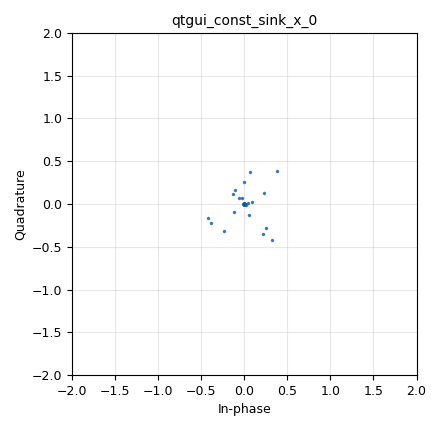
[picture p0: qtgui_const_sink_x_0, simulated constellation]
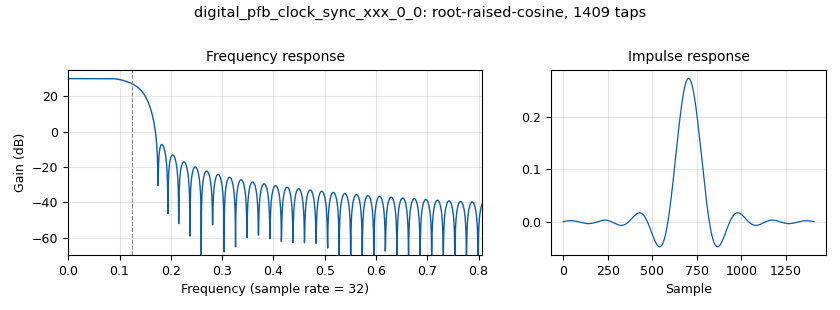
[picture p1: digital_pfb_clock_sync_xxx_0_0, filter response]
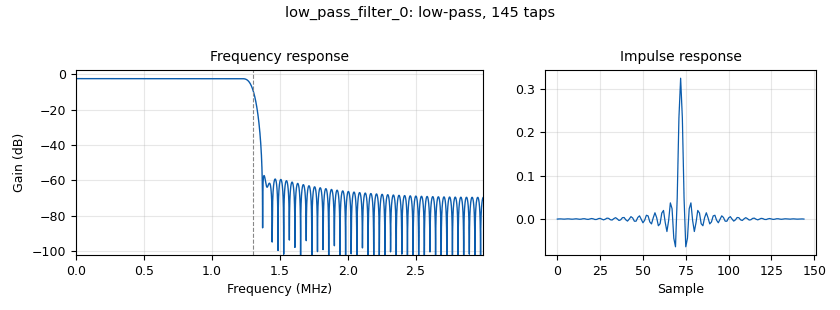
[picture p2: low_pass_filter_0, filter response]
<?xml version='1.0' encoding='utf-8'?>
<?grc format='1' created='3.7.11'?>
<flow_graph>
<block>
<key>options</key>
<param><key>id</key><value>DownConversion_test</value></param>
<param><key>generate_options</key><value>qt_gui</value></param>
</block>
<block>
<key>variable</key>
<param><key>id</key><value>center_freq</value></param>
<param><key>value</key><value>800e3</value></param>
</block>
<block>
<key>variable</key>
<param><key>id</key><value>excess_bw</value></param>
<param><key>value</key><value>0.35</value></param>
</block>
<block>
<key>variable</key>
<param><key>id</key><value>lpf_cutoff_freq</value></param>
<param><key>value</key><value>1.3e6</value></param>
</block>
<block>
<key>variable</key>
<param><key>id</key><value>lpf_transition_width</value></param>
<param><key>value</key><value>100e3</value></param>
</block>
<block>
<key>variable</key>
<param><key>id</key><value>nfilts</value></param>
<param><key>value</key><value>32</value></param>
</block>
<block>
<key>variable_constellation_rect</key>
<param><key>id</key><value>qpsk</value></param>
<param><key>const_points</key><value>[1+1j, -1+1j, -1-1j, 1-1j]</value></param>
<param><key>imag_sect</key><value>2</value></param>
<param><key>real_sect</key><value>2</value></param>
<param><key>rot_sym</key><value>4</value></param>
<param><key>sym_map</key><value>[0, 1, 2, 3]</value></param>
<param><key>w_imag_sect</key><value>1</value></param>
<param><key>w_real_sect</key><value>1</value></param>
</block>
<block>
<key>variable</key>
<param><key>id</key><value>rrc_taps</value></param>
<param><key>value</key><value>firdes.root_raised_cosine(nfilts, nfilts, 1.0/float(sps), 0.35, 11*sps*nfilts)</value></param>
</block>
<block>
<key>variable_qtgui_range</key>
<param><key>id</key><value>samp_rate</value></param>
<param><key>value</key><value>6e6</value></param>
<param><key>orient</key><value>Qt.Horizontal</value></param>
<param><key>start</key><value>2e6</value></param>
<param><key>step</key><value>1e3</value></param>
<param><key>stop</key><value>100e6</value></param>
</block>
<block>
<key>variable</key>
<param><key>id</key><value>samp_rate</value></param>
<param><key>_enabled</key><value>0</value></param>
<param><key>value</key><value>2e6</value></param>
</block>
<block>
<key>variable</key>
<param><key>id</key><value>sps</value></param>
<param><key>value</key><value>4</value></param>
</block>
<block>
<key>variable</key>
<param><key>id</key><value>timing_loop_bw</value></param>
<param><key>value</key><value>62.8e-3</value></param>
</block>
<block>
<key>analog_sig_source_x</key>
<param><key>id</key><value>analog_sig_source_x_0</value></param>
<param><key>amp</key><value>1</value></param>
<param><key>freq</key><value>center_freq</value></param>
<param><key>offset</key><value>0</value></param>
<param><key>type</key><value>complex</value></param>
<param><key>samp_rate</key><value>samp_rate</value></param>
<param><key>waveform</key><value>analog.GR_COS_WAVE</value></param>
</block>
<block>
<key>analog_sig_source_x</key>
<param><key>id</key><value>analog_sig_source_x_0_0</value></param>
<param><key>amp</key><value>1</value></param>
<param><key>_enabled</key><value>0</value></param>
<param><key>freq</key><value>44e3</value></param>
<param><key>offset</key><value>0</value></param>
<param><key>type</key><value>complex</value></param>
<param><key>samp_rate</key><value>samp_rate</value></param>
<param><key>waveform</key><value>analog.GR_COS_WAVE</value></param>
</block>
<block>
<key>analog_sig_source_x</key>
<param><key>id</key><value>analog_sig_source_x_0_1</value></param>
<param><key>amp</key><value>1</value></param>
<param><key>freq</key><value>-center_freq</value></param>
<param><key>offset</key><value>0</value></param>
<param><key>type</key><value>complex</value></param>
<param><key>samp_rate</key><value>samp_rate</value></param>
<param><key>waveform</key><value>analog.GR_COS_WAVE</value></param>
</block>
<block>
<key>blocks_complex_to_float</key>
<param><key>id</key><value>blocks_complex_to_float_0</value></param>
</block>
<block>
<key>blocks_complex_to_float</key>
<param><key>id</key><value>blocks_complex_to_float_1</value></param>
</block>
<block>
<key>blocks_complex_to_float</key>
<param><key>id</key><value>blocks_complex_to_float_2</value></param>
</block>
<block>
<key>blocks_complex_to_float</key>
<param><key>id</key><value>blocks_complex_to_float_2_0</value></param>
</block>
<block>
<key>blocks_float_to_complex</key>
<param><key>id</key><value>blocks_float_to_complex_0</value></param>
</block>
<block>
<key>blocks_float_to_complex</key>
<param><key>id</key><value>blocks_float_to_complex_0_0</value></param>
</block>
<block>
<key>blocks_message_debug</key>
<param><key>id</key><value>blocks_message_debug_0</value></param>
</block>
<block>
<key>blocks_message_strobe</key>
<param><key>id</key><value>blocks_message_strobe_0</value></param>
<param><key>msg</key><value>pmt.PMT_T</value></param>
<param><key>period</key><value>2000</value></param>
</block>
<block>
<key>blocks_multiply_xx</key>
<param><key>id</key><value>blocks_multiply_xx_0</value></param>
<param><key>type</key><value>float</value></param>
</block>
<block>
<key>blocks_multiply_xx</key>
<param><key>id</key><value>blocks_multiply_xx_0_0</value></param>
<param><key>type</key><value>float</value></param>
</block>
<block>
<key>blocks_multiply_xx</key>
<param><key>id</key><value>blocks_multiply_xx_0_1</value></param>
<param><key>type</key><value>float</value></param>
</block>
<block>
<key>blocks_multiply_xx</key>
<param><key>id</key><value>blocks_multiply_xx_0_2</value></param>
<param><key>type</key><value>float</value></param>
</block>
<block>
<key>blocks_pdu_to_tagged_stream</key>
<param><key>id</key><value>blocks_pdu_to_tagged_stream_0</value></param>
<param><key>type</key><value>byte</value></param>
<param><key>tag</key><value>packet_len</value></param>
</block>
<block>
<key>blocks_random_pdu</key>
<param><key>id</key><value>blocks_random_pdu_0</value></param>
<param><key>mask</key><value>0xFF</value></param>
<param><key>length_modulo</key><value>2</value></param>
<param><key>maxsize</key><value>6</value></param>
<param><key>minsize</key><value>5</value></param>
</block>
<block>
<key>blocks_tagged_stream_to_pdu</key>
<param><key>id</key><value>blocks_tagged_stream_to_pdu_0</value></param>
<param><key>_enabled</key><value>0</value></param>
<param><key>type</key><value>byte</value></param>
<param><key>tag</key><value>packet_len</value></param>
</block>
<block>
<key>blocks_throttle</key>
<param><key>id</key><value>blocks_throttle_0</value></param>
<param><key>samples_per_second</key><value>samp_rate</value></param>
<param><key>type</key><value>complex</value></param>
</block>
<block>
<key>digital_burst_shaper_xx</key>
<param><key>id</key><value>digital_burst_shaper_xx_0</value></param>
<param><key>insert_phasing</key><value>False</value></param>
<param><key>length_tag_name</key><value>"packet_len"</value></param>
<param><key>post_padding</key><value>0</value></param>
<param><key>pre_padding</key><value>0</value></param>
<param><key>type</key><value>complex</value></param>
<param><key>window</key><value>([])</value></param>
</block>
<block>
<key>digital_constellation_decoder_cb</key>
<param><key>id</key><value>digital_constellation_decoder_cb_0_0</value></param>
<param><key>constellation</key><value>qpsk</value></param>
<param><key>_enabled</key><value>0</value></param>
</block>
<block>
<key>digital_constellation_modulator</key>
<param><key>id</key><value>digital_constellation_modulator_0</value></param>
<param><key>constellation</key><value>qpsk</value></param>
<param><key>differential</key><value>False</value></param>
<param><key>excess_bw</key><value>excess_bw</value></param>
<param><key>samples_per_symbol</key><value>sps</value></param>
<param><key>verbose</key><value>True</value></param>
</block>
<block>
<key>digital_pfb_clock_sync_xxx</key>
<param><key>id</key><value>digital_pfb_clock_sync_xxx_0_0</value></param>
<param><key>filter_size</key><value>nfilts</value></param>
<param><key>init_phase</key><value>nfilts/2</value></param>
<param><key>loop_bw</key><value>timing_loop_bw</value></param>
<param><key>max_dev</key><value>1.5</value></param>
<param><key>osps</key><value>1</value></param>
<param><key>sps</key><value>sps</value></param>
<param><key>taps</key><value>rrc_taps</value></param>
<param><key>type</key><value>ccf</value></param>
</block>
<block>
<key>low_pass_filter</key>
<param><key>id</key><value>low_pass_filter_0</value></param>
<param><key>cutoff_freq</key><value>lpf_cutoff_freq</value></param>
<param><key>decim</key><value>1</value></param>
<param><key>type</key><value>fir_filter_fff</value></param>
<param><key>gain</key><value>0.75</value></param>
<param><key>samp_rate</key><value>samp_rate</value></param>
<param><key>width</key><value>lpf_transition_width</value></param>
<param><key>win</key><value>firdes.WIN_HAMMING</value></param>
</block>
<block>
<key>low_pass_filter</key>
<param><key>id</key><value>low_pass_filter_0_0</value></param>
<param><key>cutoff_freq</key><value>lpf_cutoff_freq</value></param>
<param><key>decim</key><value>1</value></param>
<param><key>type</key><value>fir_filter_fff</value></param>
<param><key>gain</key><value>0.75</value></param>
<param><key>samp_rate</key><value>samp_rate</value></param>
<param><key>width</key><value>lpf_transition_width</value></param>
<param><key>win</key><value>firdes.WIN_HAMMING</value></param>
</block>
<block>
<key>qtgui_const_sink_x</key>
<param><key>id</key><value>qtgui_const_sink_x_0</value></param>
<param><key>size</key><value>1024</value></param>
<param><key>type</key><value>complex</value></param>
</block>
<block>
<key>qtgui_tab_widget</key>
<param><key>id</key><value>tabs</value></param>
<param><key>_enabled</key><value>0</value></param>
<param><key>label0</key><value>Time</value></param>
<param><key>label1</key><value>Frequency</value></param>
<param><key>label2</key><value>Constellation</value></param>
<param><key>num_tabs</key><value>3</value></param>
</block>
<block>
<key>virtual_sink</key>
<param><key>id</key><value>virtual_sink_0</value></param>
<param><key>stream_id</key><value>base</value></param>
</block>
<block>
<key>virtual_sink</key>
<param><key>id</key><value>virtual_sink_1</value></param>
<param><key>stream_id</key><value>const_mod</value></param>
</block>
<block>
<key>virtual_sink</key>
<param><key>id</key><value>virtual_sink_3</value></param>
<param><key>stream_id</key><value>OG_bits</value></param>
</block>
<block>
<key>virtual_source</key>
<param><key>id</key><value>virtual_source_0</value></param>
<param><key>stream_id</key><value>base</value></param>
</block>
<block>
<key>virtual_source</key>
<param><key>id</key><value>virtual_source_3</value></param>
<param><key>stream_id</key><value>OG_bits</value></param>
</block>
<connection><source_block_id>analog_sig_source_x_0</source_block_id><sink_block_id>blocks_throttle_0</sink_block_id><source_key>0</source_key><sink_key>0</sink_key></connection>
<connection><source_block_id>analog_sig_source_x_0_1</source_block_id><sink_block_id>blocks_complex_to_float_2_0</sink_block_id><source_key>0</source_key><sink_key>0</sink_key></connection>
<connection><source_block_id>blocks_complex_to_float_0</source_block_id><sink_block_id>blocks_multiply_xx_0_0</sink_block_id><source_key>1</source_key><sink_key>1</sink_key></connection>
<connection><source_block_id>blocks_complex_to_float_0</source_block_id><sink_block_id>blocks_multiply_xx_0</sink_block_id><source_key>0</source_key><sink_key>1</sink_key></connection>
<connection><source_block_id>blocks_complex_to_float_1</source_block_id><sink_block_id>blocks_multiply_xx_0_0</sink_block_id><source_key>1</source_key><sink_key>0</sink_key></connection>
<connection><source_block_id>blocks_complex_to_float_1</source_block_id><sink_block_id>blocks_multiply_xx_0</sink_block_id><source_key>0</source_key><sink_key>0</sink_key></connection>
<connection><source_block_id>blocks_complex_to_float_2</source_block_id><sink_block_id>blocks_multiply_xx_0_2</sink_block_id><source_key>1</source_key><sink_key>0</sink_key></connection>
<connection><source_block_id>blocks_complex_to_float_2</source_block_id><sink_block_id>blocks_multiply_xx_0_1</sink_block_id><source_key>0</source_key><sink_key>0</sink_key></connection>
<connection><source_block_id>blocks_complex_to_float_2_0</source_block_id><sink_block_id>blocks_multiply_xx_0_2</sink_block_id><source_key>1</source_key><sink_key>1</sink_key></connection>
<connection><source_block_id>blocks_complex_to_float_2_0</source_block_id><sink_block_id>blocks_multiply_xx_0_1</sink_block_id><source_key>0</source_key><sink_key>1</sink_key></connection>
<connection><source_block_id>blocks_float_to_complex_0</source_block_id><sink_block_id>virtual_sink_0</sink_block_id><source_key>0</source_key><sink_key>0</sink_key></connection>
<connection><source_block_id>blocks_float_to_complex_0_0</source_block_id><sink_block_id>digital_pfb_clock_sync_xxx_0_0</sink_block_id><source_key>0</source_key><sink_key>0</sink_key></connection>
<connection><source_block_id>blocks_message_strobe_0</source_block_id><sink_block_id>blocks_random_pdu_0</sink_block_id><source_key>strobe</source_key><sink_key>generate</sink_key></connection>
<connection><source_block_id>blocks_multiply_xx_0</source_block_id><sink_block_id>blocks_float_to_complex_0</sink_block_id><source_key>0</source_key><sink_key>0</sink_key></connection>
<connection><source_block_id>blocks_multiply_xx_0_0</source_block_id><sink_block_id>blocks_float_to_complex_0</sink_block_id><source_key>0</source_key><sink_key>1</sink_key></connection>
<connection><source_block_id>blocks_multiply_xx_0_1</source_block_id><sink_block_id>low_pass_filter_0</sink_block_id><source_key>0</source_key><sink_key>0</sink_key></connection>
<connection><source_block_id>blocks_multiply_xx_0_2</source_block_id><sink_block_id>low_pass_filter_0_0</sink_block_id><source_key>0</source_key><sink_key>0</sink_key></connection>
<connection><source_block_id>blocks_pdu_to_tagged_stream_0</source_block_id><sink_block_id>virtual_sink_3</sink_block_id><source_key>0</source_key><sink_key>0</sink_key></connection>
<connection><source_block_id>blocks_random_pdu_0</source_block_id><sink_block_id>blocks_message_debug_0</sink_block_id><source_key>pdus</source_key><sink_key>print_pdu</sink_key></connection>
<connection><source_block_id>blocks_random_pdu_0</source_block_id><sink_block_id>blocks_pdu_to_tagged_stream_0</sink_block_id><source_key>pdus</source_key><sink_key>pdus</sink_key></connection>
<connection><source_block_id>blocks_throttle_0</source_block_id><sink_block_id>blocks_complex_to_float_0</sink_block_id><source_key>0</source_key><sink_key>0</sink_key></connection>
<connection><source_block_id>digital_constellation_decoder_cb_0_0</source_block_id><sink_block_id>blocks_tagged_stream_to_pdu_0</sink_block_id><source_key>0</source_key><sink_key>0</sink_key></connection>
<connection><source_block_id>digital_constellation_modulator_0</source_block_id><sink_block_id>blocks_complex_to_float_1</sink_block_id><source_key>0</source_key><sink_key>0</sink_key></connection>
<connection><source_block_id>digital_constellation_modulator_0</source_block_id><sink_block_id>virtual_sink_1</sink_block_id><source_key>0</source_key><sink_key>0</sink_key></connection>
<connection><source_block_id>digital_pfb_clock_sync_xxx_0_0</source_block_id><sink_block_id>digital_constellation_decoder_cb_0_0</sink_block_id><source_key>0</source_key><sink_key>0</sink_key></connection>
<connection><source_block_id>digital_pfb_clock_sync_xxx_0_0</source_block_id><sink_block_id>qtgui_const_sink_x_0</sink_block_id><source_key>0</source_key><sink_key>0</sink_key></connection>
<connection><source_block_id>low_pass_filter_0</source_block_id><sink_block_id>blocks_float_to_complex_0_0</sink_block_id><source_key>0</source_key><sink_key>0</sink_key></connection>
<connection><source_block_id>low_pass_filter_0_0</source_block_id><sink_block_id>blocks_float_to_complex_0_0</sink_block_id><source_key>0</source_key><sink_key>1</sink_key></connection>
<connection><source_block_id>virtual_source_0</source_block_id><sink_block_id>blocks_complex_to_float_2</sink_block_id><source_key>0</source_key><sink_key>0</sink_key></connection>
<connection><source_block_id>virtual_source_3</source_block_id><sink_block_id>digital_constellation_modulator_0</sink_block_id><source_key>0</source_key><sink_key>0</sink_key></connection>
</flow_graph>
